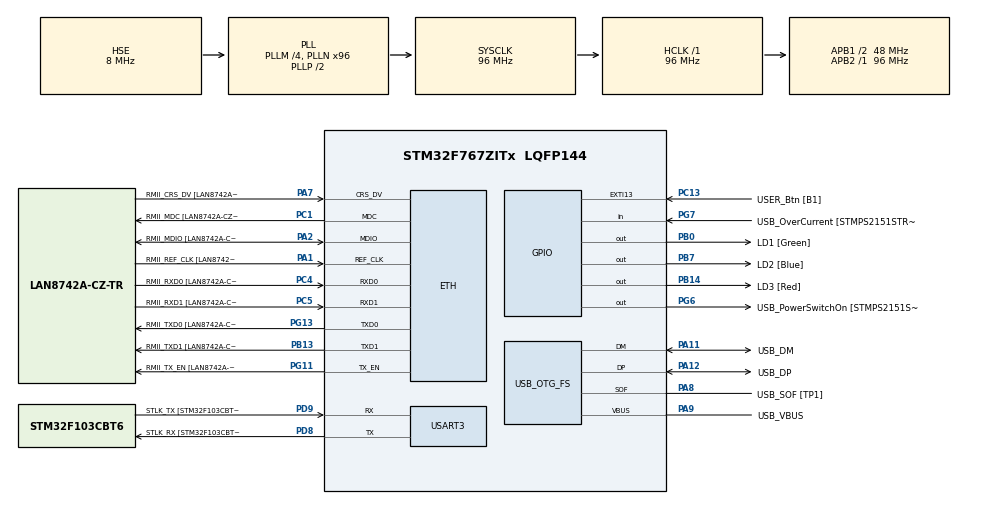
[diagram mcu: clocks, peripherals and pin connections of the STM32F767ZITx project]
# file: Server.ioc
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ETH.MediaInterface=HAL_ETH_RMII_MODE
ETH.PHY_Name=LAN8742A_PHY_ADDRESS
ETH.PHY_Value=0
ETH.PhyAddress=0
LWIP.BSP.number=1
LWIP.IP_ADDRESS=192.168.000.010
LWIP.LWIP_DHCP=0
LWIP.NETMASK_ADDRESS=255.255.255.000
LWIP.Version=v2.1.2_Cube
LWIP0.BSP.STBoard=false
LWIP0.BSP.api=BSP_COMPONENT_DRIVER
LWIP0.BSP.component=LAN8742
LWIP0.BSP.instance=LAN8742
LWIP0.BSP.name=Driver_PHY
LWIP0.BSP.semaphore=S_LAN8742
LWIP0.BSP.solution=LAN8742
Mcu.Family=STM32F7
Mcu.Name=STM32F767ZITx
Mcu.Package=LQFP144
NVIC.PriorityGroup=NVIC_PRIORITYGROUP_4
PA1.GPIO_Label=RMII_REF_CLK [LAN8742A-CZ-TR_REFCLK0]
PA1.Mode=RMII
PA1.Signal=ETH_REF_CLK
PA10.GPIO_Label=USB_ID
PA10.Signal=USB_OTG_FS_ID
PA11.GPIO_Label=USB_DM
PA11.Mode=Device_Only
PA11.Signal=USB_OTG_FS_DM
PA12.GPIO_Label=USB_DP
PA12.Mode=Device_Only
PA12.Signal=USB_OTG_FS_DP
PA13.GPIO_Label=TMS
PA13.Mode=Serial_Wire
PA13.Signal=SYS_JTMS-SWDIO
PA14.GPIO_Label=TCK
PA14.Mode=Serial_Wire
PA14.Signal=SYS_JTCK-SWCLK
PA2.GPIO_Label=RMII_MDIO [LAN8742A-CZ-TR_MDIO]
PA2.Mode=RMII
PA2.Signal=ETH_MDIO
PA7.GPIO_Label=RMII_CRS_DV [LAN8742A-CZ-TR_CRS_DV]
PA7.Mode=RMII
PA7.Signal=ETH_CRS_DV
PA8.GPIO_Label=USB_SOF [TP1]
PA8.Mode=Activate_SOF_FS
PA8.Signal=USB_OTG_FS_SOF
PA9.GPIO_Label=USB_VBUS
PA9.Mode=Activate_VBUS
PA9.Signal=USB_OTG_FS_VBUS
PB0.GPIO_Label=LD1 [Green]
PB0.Signal=GPIO_Output
PB13.GPIO_Label=RMII_TXD1 [LAN8742A-CZ-TR_TXD1]
PB13.Mode=RMII
PB13.Signal=ETH_TXD1
PB14.GPIO_Label=LD3 [Red]
PB14.Signal=GPIO_Output
PB3.GPIO_Label=SWO
PB3.Signal=SYS_JTDO-SWO
PB7.GPIO_Label=LD2 [Blue]
PB7.Signal=GPIO_Output
PC1.GPIO_Label=RMII_MDC [LAN8742A-CZ-TR_MDC]
PC1.Mode=RMII
PC1.Signal=ETH_MDC
PC13.GPIO_Label=USER_Btn [B1]
PC13.Signal=GPXTI13
PC14/OSC32_IN.Mode=LSE-External-Oscillator
PC14/OSC32_IN.Signal=RCC_OSC32_IN
PC15/OSC32_OUT.Mode=LSE-External-Oscillator
PC15/OSC32_OUT.Signal=RCC_OSC32_OUT
PC4.GPIO_Label=RMII_RXD0 [LAN8742A-CZ-TR_RXD0]
PC4.Mode=RMII
PC4.Signal=ETH_RXD0
PC5.GPIO_Label=RMII_RXD1 [LAN8742A-CZ-TR_RXD1]
PC5.Mode=RMII
PC5.Signal=ETH_RXD1
PD8.GPIO_Label=STLK_RX [STM32F103CBT6_PA3]
PD8.Mode=Asynchronous
PD8.Signal=USART3_TX
PD9.GPIO_Label=STLK_TX [STM32F103CBT6_PA2]
PD9.Mode=Asynchronous
PD9.Signal=USART3_RX
PG11.GPIO_Label=RMII_TX_EN [LAN8742A-CZ-TR_TXEN]
PG11.Mode=RMII
PG11.Signal=ETH_TX_EN
PG13.GPIO_Label=RMII_TXD0 [LAN8742A-CZ-TR_TXD0]
PG13.Mode=RMII
PG13.Signal=ETH_TXD0
PG6.GPIO_Label=USB_PowerSwitchOn [STMPS2151STR_EN]
PG6.Signal=GPIO_Output
PG7.GPIO_Label=USB_OverCurrent [STMPS2151STR_FAULT]
PG7.Signal=GPIO_Input
PH0/OSC_IN.GPIO_Label=MCO [STM32F103CBT6_PA8]
PH0/OSC_IN.Mode=HSE-External-Clock-Source
PH0/OSC_IN.Signal=RCC_OSC_IN
PH1/OSC_OUT.Mode=HSE-External-Clock-Source
PH1/OSC_OUT.Signal=RCC_OSC_OUT
ProjectManager.HeapSize=0x200
ProjectManager.StackSize=0x400
ProjectManager.TargetToolchain=STM32CubeIDE
RCC.48MHZClocksFreq_Value=24000000
RCC.AHBFreq_Value=96000000
RCC.APB1CLKDivider=RCC_HCLK_DIV2
RCC.APB1Freq_Value=48000000
RCC.APB1TimFreq_Value=96000000
RCC.APB2Freq_Value=96000000
RCC.APB2TimFreq_Value=96000000
RCC.CortexFreq_Value=96000000
RCC.HCLKFreq_Value=96000000
RCC.HSE_VALUE=8000000
RCC.HSI_VALUE=16000000
RCC.PLLM=4
RCC.PLLMUL=RCC_PLL_MUL9
RCC.PLLN=96
RCC.PLLQ=4
RCC.PRESCALERUSB=RCC_USBCLKSOURCE_PLL_DIV1_5
RCC.SYSCLKFreq_VALUE=96000000
RCC.SYSCLKSource=RCC_SYSCLKSOURCE_PLLCLK
RCC.SYSCLKSourceVirtual=RCC_SYSCLKSOURCE_PLLCLK
RCC.USBFreq_Value=48000000
RCC.VCOOutputFreq_Value=192000000
USART3.VirtualMode-Asynchronous=VM_ASYNC
USB_OTG_FS.VirtualMode=Device_Only
VP_LWIP_VS_Enabled.Mode=Enabled
board=NUCLEO-F767ZI

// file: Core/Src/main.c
/* USER CODE BEGIN Header */
/**
  ******************************************************************************
  * @file           : main.c
  * @brief          : Main program body
  ******************************************************************************
  * @attention
  *
  * Copyright (c) 2023 STMicroelectronics.
  * All rights reserved.
  *
  * This software is licensed under terms that can be found in the LICENSE file
  * in the root directory of this software component.
  * If no LICENSE file comes with this software, it is provided AS-IS.
  *
  ******************************************************************************
  */
/* USER CODE END Header */
#include "main.h"
#include "lwip.h"

/* USER CODE BEGIN Includes */
#include "udp.h"
/* USER CODE END Includes */

/* USER CODE BEGIN PTD */
struct command {
	char light;
	char mode;
};
/* USER CODE END PTD */

/* USER CODE BEGIN PD */
enum LIGHT {
	LIGHT_INVALID = 0,
	LIGHT_GREEN = 1,
	LIGHT_BLUE = 2,
	LIGHT_RED = 3
};

enum MODE {
	MODE_OFF = 0,
	MODE_ON = 1,
	MODE_INVALID = 2
};
/* USER CODE END PD */

UART_HandleTypeDef huart3;

PCD_HandleTypeDef hpcd_USB_OTG_FS;

void SystemClock_Config(void);
static void MX_GPIO_Init(void);
static void MX_USART3_UART_Init(void);
static void MX_USB_OTG_FS_PCD_Init(void);
/* USER CODE BEGIN PFP */
struct command make_command(const char* rawcmd);
void exec_command(const struct command* cmd);
/* USER CODE END PFP */

/* USER CODE BEGIN 0 */
void onrecv(
		void* arg,
		struct udp_pcb *pcb,
		struct pbuf *p,
		const ip_addr_t *addr,
		u16_t port) {

	char* data = p->payload;
	const struct command cmd = make_command(data);
	exec_command(&cmd);

	pbuf_free(p);
}

struct command make_command(const char* rawcmd) {
	char rawlight = rawcmd[0];
	char rawmode = rawcmd[1];
	struct command cmd = {};

	if (rawlight != '1' && rawlight != '2' && rawlight != '3') {
		cmd.light = LIGHT_INVALID;
		cmd.mode = MODE_INVALID;
		return cmd;
	}

	cmd.light = rawlight - '0';

	if (rawmode != '0' && rawmode != '1') {
		cmd.light = LIGHT_INVALID;
		cmd.mode = MODE_INVALID;
	}

	cmd.mode = rawmode - '0';
	return cmd;
}

void exec_command(const struct command* uc) {

	if (uc->light == LIGHT_INVALID) {
		return;
	}

	if (uc->mode == MODE_INVALID) {
		return;
	}

	switch (uc->light) {
		case LIGHT_GREEN:
			HAL_GPIO_WritePin(GPIOB, GPIO_PIN_0, uc->mode == MODE_ON);
			break;
		case LIGHT_BLUE:
			HAL_GPIO_WritePin(GPIOB, GPIO_PIN_7, uc->mode == MODE_ON);
			break;
		case LIGHT_RED:
			HAL_GPIO_WritePin(GPIOB, GPIO_PIN_14, uc->mode == MODE_ON);
		default:
			return;
	}
}

/* USER CODE END 0 */

int main(void)
{

  /* MCU Configuration--------------------------------------------------------*/

  /* Reset of all peripherals, Initializes the Flash interface and the Systick. */
  HAL_Init();

  /* Configure the system clock */
  SystemClock_Config();

  /* Initialize all configured peripherals */
  MX_GPIO_Init();
  MX_USART3_UART_Init();
  MX_USB_OTG_FS_PCD_Init();
  MX_LWIP_Init();
  /* USER CODE BEGIN 2 */
  struct udp_pcb* upcb = udp_new();
  ip_addr_t srvaddr;
  IP_ADDR4(&srvaddr, 192, 168, 0, 10);
  err_t err = udp_bind(upcb, &srvaddr, 3333u);
  if (ERR_OK != err) {
	  HAL_GPIO_WritePin(GPIOB, GPIO_PIN_14, GPIO_PIN_SET);
  }
  udp_recv(upcb, onrecv, NULL);

  /* USER CODE END 2 */

  /* Infinite loop */
  while (1)
  {

    /* USER CODE BEGIN 3 */
	  MX_LWIP_Process();

  }
  /* USER CODE END 3 */
}

void SystemClock_Config(void)
{
  RCC_OscInitTypeDef RCC_OscInitStruct = {0};
  RCC_ClkInitTypeDef RCC_ClkInitStruct = {0};

  /** Configure LSE Drive Capability
  */
  HAL_PWR_EnableBkUpAccess();

  /** Configure the main internal regulator output voltage
  */
  __HAL_RCC_PWR_CLK_ENABLE();
  __HAL_PWR_VOLTAGESCALING_CONFIG(PWR_REGULATOR_VOLTAGE_SCALE3);

  /** Initializes the RCC Oscillators according to the specified parameters
  * in the RCC_OscInitTypeDef structure.
  */
  RCC_OscInitStruct.OscillatorType = RCC_OSCILLATORTYPE_HSE;
  RCC_OscInitStruct.HSEState = RCC_HSE_BYPASS;
  RCC_OscInitStruct.PLL.PLLState = RCC_PLL_ON;
  RCC_OscInitStruct.PLL.PLLSource = RCC_PLLSOURCE_HSE;
  RCC_OscInitStruct.PLL.PLLM = 4;
  RCC_OscInitStruct.PLL.PLLN = 96;
  RCC_OscInitStruct.PLL.PLLP = RCC_PLLP_DIV2;
  RCC_OscInitStruct.PLL.PLLQ = 4;
  RCC_OscInitStruct.PLL.PLLR = 2;
  if (HAL_RCC_OscConfig(&RCC_OscInitStruct) != HAL_OK)
  {
    Error_Handler();
  }

  /** Activate the Over-Drive mode
  */
  if (HAL_PWREx_EnableOverDrive() != HAL_OK)
  {
    Error_Handler();
  }

  /** Initializes the CPU, AHB and APB buses clocks
  */
  RCC_ClkInitStruct.ClockType = RCC_CLOCKTYPE_HCLK|RCC_CLOCKTYPE_SYSCLK
                              |RCC_CLOCKTYPE_PCLK1|RCC_CLOCKTYPE_PCLK2;
  RCC_ClkInitStruct.SYSCLKSource = RCC_SYSCLKSOURCE_PLLCLK;
  RCC_ClkInitStruct.AHBCLKDivider = RCC_SYSCLK_DIV1;
  RCC_ClkInitStruct.APB1CLKDivider = RCC_HCLK_DIV2;
  RCC_ClkInitStruct.APB2CLKDivider = RCC_HCLK_DIV1;

  if (HAL_RCC_ClockConfig(&RCC_ClkInitStruct, FLASH_LATENCY_3) != HAL_OK)
  {
    Error_Handler();
  }
}

static void MX_USART3_UART_Init(void)
{

  huart3.Instance = USART3;
  huart3.Init.BaudRate = 115200;
  huart3.Init.WordLength = UART_WORDLENGTH_8B;
  huart3.Init.StopBits = UART_STOPBITS_1;
  huart3.Init.Parity = UART_PARITY_NONE;
  huart3.Init.Mode = UART_MODE_TX_RX;
  huart3.Init.HwFlowCtl = UART_HWCONTROL_NONE;
  huart3.Init.OverSampling = UART_OVERSAMPLING_16;
  huart3.Init.OneBitSampling = UART_ONE_BIT_SAMPLE_DISABLE;
  huart3.AdvancedInit.AdvFeatureInit = UART_ADVFEATURE_NO_INIT;
  if (HAL_UART_Init(&huart3) != HAL_OK)
  {
    Error_Handler();
  }

}

static void MX_USB_OTG_FS_PCD_Init(void)
{

  hpcd_USB_OTG_FS.Instance = USB_OTG_FS;
  hpcd_USB_OTG_FS.Init.dev_endpoints = 6;
  hpcd_USB_OTG_FS.Init.speed = PCD_SPEED_FULL;
  hpcd_USB_OTG_FS.Init.dma_enable = DISABLE;
  hpcd_USB_OTG_FS.Init.phy_itface = PCD_PHY_EMBEDDED;
  hpcd_USB_OTG_FS.Init.Sof_enable = ENABLE;
  hpcd_USB_OTG_FS.Init.low_power_enable = DISABLE;
  hpcd_USB_OTG_FS.Init.lpm_enable = DISABLE;
  hpcd_USB_OTG_FS.Init.vbus_sensing_enable = ENABLE;
  hpcd_USB_OTG_FS.Init.use_dedicated_ep1 = DISABLE;
  if (HAL_PCD_Init(&hpcd_USB_OTG_FS) != HAL_OK)
  {
    Error_Handler();
  }

}

static void MX_GPIO_Init(void)
{
  GPIO_InitTypeDef GPIO_InitStruct = {0};

  /* GPIO Ports Clock Enable */
  __HAL_RCC_GPIOC_CLK_ENABLE();
  __HAL_RCC_GPIOH_CLK_ENABLE();
  __HAL_RCC_GPIOA_CLK_ENABLE();
  __HAL_RCC_GPIOB_CLK_ENABLE();
  __HAL_RCC_GPIOD_CLK_ENABLE();
  __HAL_RCC_GPIOG_CLK_ENABLE();

  /*Configure GPIO pin Output Level */
  HAL_GPIO_WritePin(GPIOB, LD1_Pin|LD3_Pin|LD2_Pin, GPIO_PIN_RESET);

  /*Configure GPIO pin Output Level */
  HAL_GPIO_WritePin(USB_PowerSwitchOn_GPIO_Port, USB_PowerSwitchOn_Pin, GPIO_PIN_RESET);

  /*Configure GPIO pin : USER_Btn_Pin */
  GPIO_InitStruct.Pin = USER_Btn_Pin;
  GPIO_InitStruct.Mode = GPIO_MODE_IT_RISING;
  GPIO_InitStruct.Pull = GPIO_NOPULL;
  HAL_GPIO_Init(USER_Btn_GPIO_Port, &GPIO_InitStruct);

  /*Configure GPIO pins : LD1_Pin LD3_Pin LD2_Pin */
  GPIO_InitStruct.Pin = LD1_Pin|LD3_Pin|LD2_Pin;
  GPIO_InitStruct.Mode = GPIO_MODE_OUTPUT_PP;
  GPIO_InitStruct.Pull = GPIO_NOPULL;
  GPIO_InitStruct.Speed = GPIO_SPEED_FREQ_LOW;
  HAL_GPIO_Init(GPIOB, &GPIO_InitStruct);

  /*Configure GPIO pin : USB_PowerSwitchOn_Pin */
  GPIO_InitStruct.Pin = USB_PowerSwitchOn_Pin;
  GPIO_InitStruct.Mode = GPIO_MODE_OUTPUT_PP;
  GPIO_InitStruct.Pull = GPIO_NOPULL;
  GPIO_InitStruct.Speed = GPIO_SPEED_FREQ_LOW;
  HAL_GPIO_Init(USB_PowerSwitchOn_GPIO_Port, &GPIO_InitStruct);

  /*Configure GPIO pin : USB_OverCurrent_Pin */
  GPIO_InitStruct.Pin = USB_OverCurrent_Pin;
  GPIO_InitStruct.Mode = GPIO_MODE_INPUT;
  GPIO_InitStruct.Pull = GPIO_NOPULL;
  HAL_GPIO_Init(USB_OverCurrent_GPIO_Port, &GPIO_InitStruct);

}

void Error_Handler(void)
{
  __disable_irq();
  while (1)
  {
  }
}
